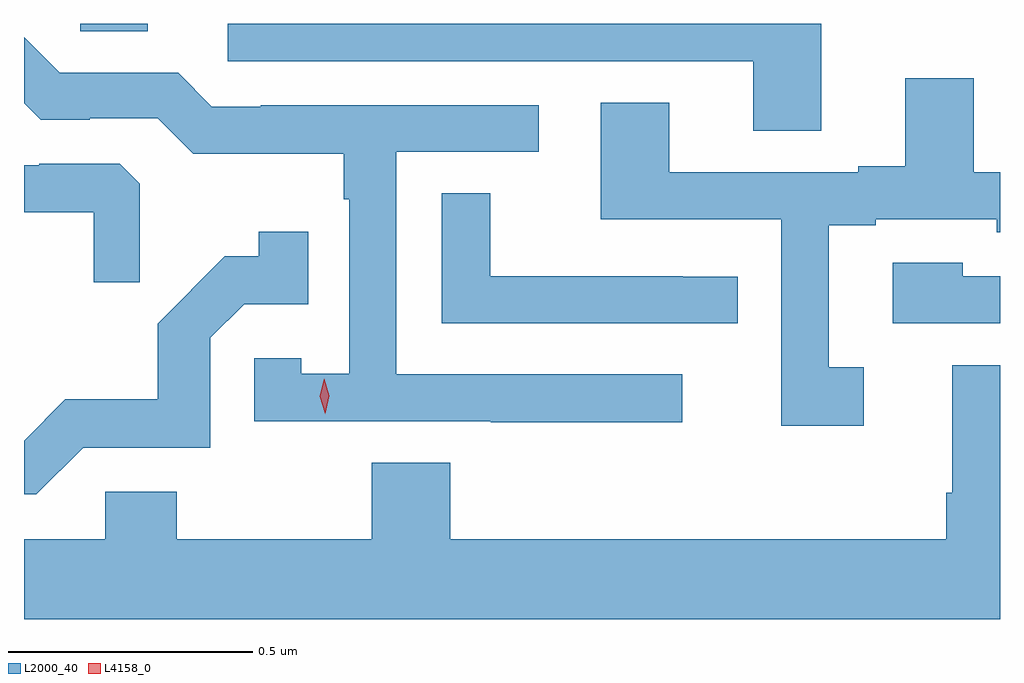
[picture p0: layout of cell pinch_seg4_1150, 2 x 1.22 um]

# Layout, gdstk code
import gdstk
lib = gdstk.Library(unit=1e-6, precision=1e-09)
def R(c, l, rs):  # rectangles x0, y0, x1, y1
    for r in rs: c.add(gdstk.rectangle(r[:2], r[2:], *l))
def P(c, l, *ps):  # polygons
    for p in ps: c.add(gdstk.Polygon(p, *l))
L2000_40 = (2000, 40)
L4158_0 = (4158, 0)

pinch_seg4_1150 = lib.new_cell('pinch_seg4_1150')
R(pinch_seg4_1150, L2000_40, [(447.006,812.677,447.145,812.693)])
P(pinch_seg4_1150, L2000_40, [(448.525,812.693),(447.309,812.693),(447.309,812.616),(448.385,812.616),(448.385,812.473),(448.525,812.473)],
  [(448.24,811.974),(447.654,811.974),(447.654,812.43),(447.946,812.43),(447.946,812.526),(447.376,812.526),(447.376,812.523),(447.276,812.523),(447.207,812.592),(446.964,812.592),(446.891,812.665),(446.891,812.53),(446.925,812.496),(447.026,812.496),(447.026,812.499),(447.165,812.499),(447.238,812.426),(447.546,812.426),(447.546,812.333),(447.558,812.333),(447.558,811.975),(447.459,811.975),(447.459,812.007),(447.363,812.007),(447.363,811.878),(447.847,811.878),(447.847,811.876),(448.24,811.876)],
  [(448.612,811.989),(448.54,811.989),(448.54,812.28),(448.636,812.28),(448.636,812.292),(448.884,812.292),(448.884,812.265),(448.891,812.265),(448.891,812.388),(448.837,812.388),(448.837,812.581),(448.697,812.581),(448.697,812.401),(448.601,812.401),(448.601,812.388),(448.213,812.388),(448.213,812.531),(448.073,812.531),(448.073,812.292),(448.443,812.292),(448.443,811.869),(448.612,811.869)],
  [(447.128,812.365),(447.087,812.406),(446.922,812.406),(446.922,812.403),(446.891,812.403),(446.891,812.306),(447.034,812.306),(447.034,812.163),(447.128,812.163)],
  [(448.354,812.174),(448.241,812.174),(448.241,812.175),(447.846,812.175),(447.846,812.345),(447.747,812.345),(447.747,812.079),(448.354,812.079)],
  [(447.012,811.824),(447.273,811.824),(447.273,812.049),(447.342,812.118),(447.473,812.118),(447.473,812.266),(447.372,812.266),(447.372,812.216),(447.302,812.216),(447.165,812.078),(447.165,811.923),(446.976,811.923),(446.891,811.838),(446.891,811.728),(446.916,811.728)],
  [(448.891,812.175),(448.815,812.175),(448.815,812.203),(448.671,812.203),(448.671,812.079),(448.891,812.079)],
  [(448.891,811.993),(448.793,811.993),(448.793,811.732),(448.781,811.732),(448.781,811.636),(447.764,811.636),(447.764,811.793),(447.604,811.793),(447.604,811.636),(447.204,811.636),(447.204,811.734),(447.057,811.734),(447.057,811.636),(446.891,811.636),(446.891,811.472),(448.891,811.472)])
P(pinch_seg4_1150, L4158_0, [(447.508,811.893),(447.508,811.893),(447.497,811.929),(447.506,811.965),(447.506,811.965),(447.506,811.965),(447.517,811.93),(447.508,811.893)])

lib.write_gds('pinch_seg4_1150.gds')
